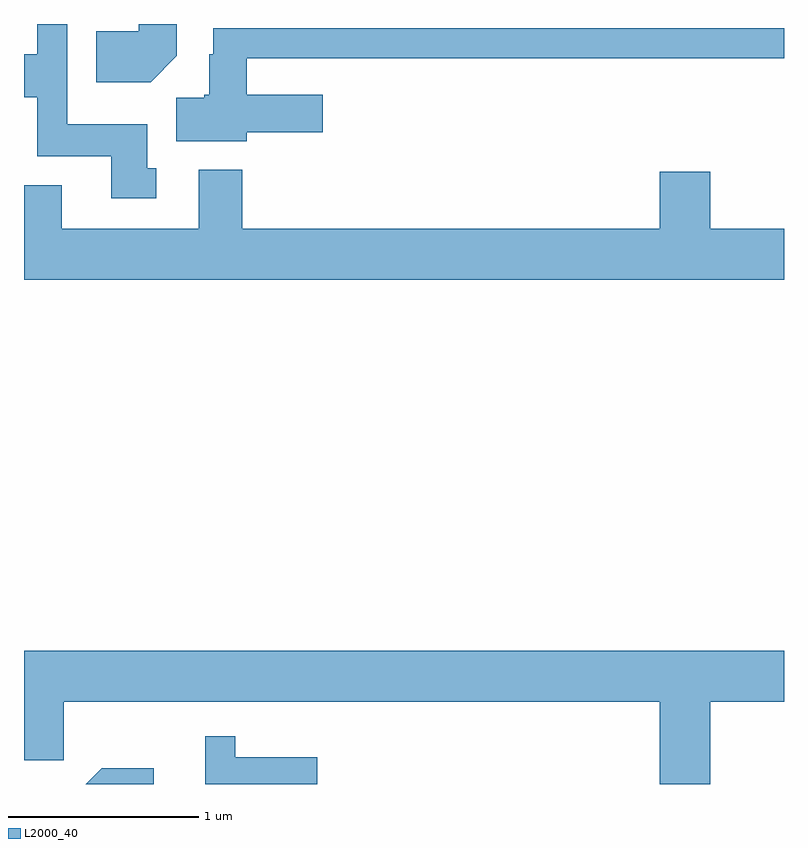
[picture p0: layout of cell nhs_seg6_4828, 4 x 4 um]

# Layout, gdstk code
import gdstk
lib = gdstk.Library(unit=1e-6, precision=1e-09)
def P(c, l, *ps):  # polygons
    for p in ps: c.add(gdstk.Polygon(p, *l))
L2000_40 = (2000, 40)

nhs_seg6_4828 = lib.new_cell('nhs_seg6_4828')
P(nhs_seg6_4828, L2000_40, [(332.308,1659.404),(332.259,1659.404),(332.259,1659.634),(331.839,1659.634),(331.839,1660.162),(331.681,1660.162),(331.681,1660.004),(331.611,1660.004),(331.611,1659.776),(331.681,1659.776),(331.681,1659.466),(332.071,1659.466),(332.071,1659.246),(332.308,1659.246)],
  [(332.414,1659.994),(332.414,1660.162),(332.216,1660.162),(332.216,1660.124),(331.991,1660.124),(331.991,1659.856),(332.277,1659.856)],
  [(332.784,1659.591),(333.184,1659.591),(333.184,1659.789),(332.784,1659.789),(332.784,1659.981),(335.611,1659.981),(335.611,1660.139),(332.606,1660.139),(332.606,1660.004),(332.586,1660.004),(332.586,1659.789),(332.56,1659.789),(332.56,1659.774),(332.411,1659.774),(332.411,1659.546),(332.784,1659.546)],
  [(335.611,1659.084),(335.224,1659.084),(335.224,1659.384),(334.956,1659.384),(334.956,1659.084),(332.759,1659.084),(332.759,1659.394),(332.531,1659.394),(332.531,1659.084),(331.809,1659.084),(331.809,1659.314),(331.611,1659.314),(331.611,1658.816),(335.611,1658.816)],
  [(335.224,1656.596),(335.611,1656.596),(335.611,1656.864),(331.611,1656.864),(331.611,1656.286),(331.819,1656.286),(331.819,1656.596),(334.956,1656.596),(334.956,1656.162),(335.224,1656.162)],
  [(333.154,1656.304),(332.724,1656.304),(332.724,1656.413),(332.566,1656.413),(332.566,1656.162),(333.154,1656.162)],
  [(332.293,1656.244),(332.019,1656.244),(331.937,1656.162),(332.293,1656.162)])

lib.write_gds('nhs_seg6_4828.gds')
